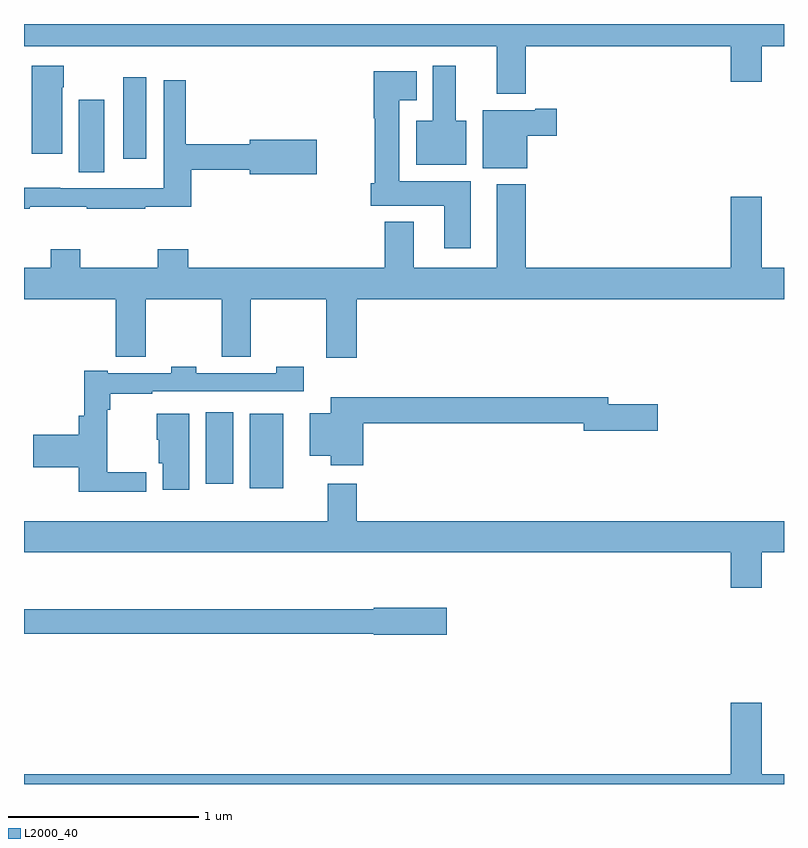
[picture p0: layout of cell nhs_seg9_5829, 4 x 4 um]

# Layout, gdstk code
import gdstk
lib = gdstk.Library(unit=1e-6, precision=1e-09)
def R(c, l, rs):  # rectangles x0, y0, x1, y1
    for r in rs: c.add(gdstk.rectangle(r[:2], r[2:], *l))
def P(c, l, *ps):  # polygons
    for p in ps: c.add(gdstk.Polygon(p, *l))
L2000_40 = (2000, 40)

nhs_seg9_5829 = lib.new_cell('nhs_seg9_5829')
R(nhs_seg9_5829, L2000_40, [(450.188,1230.056,450.364,1230.448), (449.957,1230.081,450.1,1230.457), (449.288,1231.72,449.422,1232.101), (449.522,1231.791,449.644,1232.221)])
P(nhs_seg9_5829, L2000_40, [(451.64,1232.384),(452.72,1232.384),(452.72,1232.196),(452.884,1232.196),(452.884,1232.384),(453,1232.384),(453,1232.5),(449,1232.5),(449,1232.384),(451.487,1232.384),(451.487,1232.132),(451.64,1232.132)],
  [(449.2,1232.168),(449.208,1232.168),(449.208,1232.281),(449.042,1232.281),(449.042,1231.818),(449.2,1231.818)],
  [(451.327,1231.99),(451.273,1231.99),(451.273,1232.281),(451.151,1232.281),(451.151,1231.99),(451.064,1231.99),(451.064,1231.76),(451.327,1231.76)],
  [(451.351,1231.672),(450.976,1231.672),(450.976,1232.099),(451.066,1232.099),(451.066,1232.251),(450.842,1232.251),(450.842,1232.003),(450.847,1232.003),(450.847,1231.662),(450.824,1231.662),(450.824,1231.544),(451.211,1231.544),(451.211,1231.32),(451.351,1231.32)],
  [(449.029,1231.537),(449.329,1231.537),(449.329,1231.527),(449.639,1231.527),(449.639,1231.537),(449.879,1231.537),(449.879,1231.732),(450.188,1231.732),(450.188,1231.709),(450.541,1231.709),(450.541,1231.892),(450.188,1231.892),(450.188,1231.868),(449.852,1231.868),(449.852,1232.203),(449.736,1232.203),(449.736,1231.636),(449.526,1231.636),(449.526,1231.635),(449.192,1231.635),(449.192,1231.637),(449,1231.637),(449,1231.527),(449.029,1231.527)],
  [(451.648,1231.913),(451.804,1231.913),(451.804,1232.055),(451.691,1232.055),(451.691,1232.047),(451.415,1232.047),(451.415,1231.742),(451.648,1231.742)],
  [(450.752,1231.052),(453,1231.052),(453,1231.216),(452.884,1231.216),(452.884,1231.591),(452.72,1231.591),(452.72,1231.216),(451.64,1231.216),(451.64,1231.657),(451.487,1231.657),(451.487,1231.216),(451.051,1231.216),(451.051,1231.459),(450.899,1231.459),(450.899,1231.216),(449.864,1231.216),(449.864,1231.315),(449.704,1231.315),(449.704,1231.216),(449.295,1231.216),(449.295,1231.315),(449.14,1231.315),(449.14,1231.216),(449,1231.216),(449,1231.052),(449.483,1231.052),(449.483,1230.748),(449.642,1230.748),(449.642,1231.052),(450.04,1231.052),(450.04,1230.748),(450.194,1230.748),(450.194,1231.052),(450.592,1231.052),(450.592,1230.744),(450.752,1230.744)],
  [(449.644,1230.14),(449.438,1230.14),(449.438,1230.47),(449.453,1230.47),(449.453,1230.555),(449.675,1230.555),(449.675,1230.567),(450.472,1230.567),(450.472,1230.696),(450.327,1230.696),(450.327,1230.663),(449.907,1230.663),(449.907,1230.696),(449.775,1230.696),(449.775,1230.663),(449.44,1230.663),(449.44,1230.676),(449.317,1230.676),(449.317,1230.439),(449.288,1230.439),(449.288,1230.338),(449.049,1230.338),(449.049,1230.167),(449.288,1230.167),(449.288,1230.038),(449.644,1230.038)],
  [(450.785,1230.4),(451.946,1230.4),(451.946,1230.358),(452.335,1230.358),(452.335,1230.5),(452.074,1230.5),(452.074,1230.536),(450.614,1230.536),(450.614,1230.451),(450.503,1230.451),(450.503,1230.227),(450.614,1230.227),(450.614,1230.177),(450.785,1230.177)],
  [(449.869,1230.448),(449.699,1230.448),(449.699,1230.312),(449.708,1230.312),(449.708,1230.189),(449.729,1230.189),(449.729,1230.048),(449.869,1230.048)],
  [(452.884,1229.72),(453,1229.72),(453,1229.884),(450.752,1229.884),(450.752,1230.079),(450.599,1230.079),(450.599,1229.884),(449,1229.884),(449,1229.72),(452.72,1229.72),(452.72,1229.532),(452.884,1229.532)],
  [(451.225,1229.427),(450.84,1229.427),(450.84,1229.419),(449,1229.419),(449,1229.29),(450.84,1229.29),(450.84,1229.285),(451.225,1229.285)],
  [(449,1228.5),(453,1228.5),(453,1228.552),(452.884,1228.552),(452.884,1228.927),(452.72,1228.927),(452.72,1228.552),(449,1228.552)])

lib.write_gds('nhs_seg9_5829.gds')
